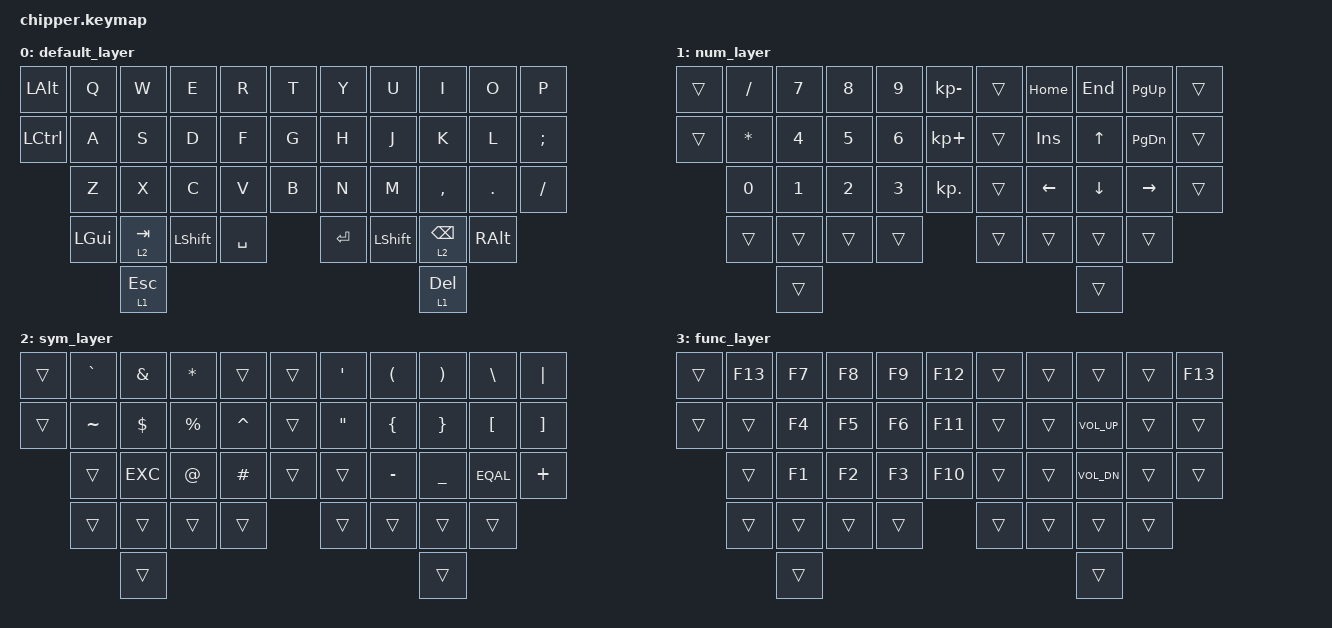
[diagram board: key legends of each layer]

#include <behaviors.dtsi>
#include <dt-bindings/zmk/keys.h>
#include <dt-bindings/zmk/bt.h>        // bluetooth
// #include <dt-bindings/zmk/pointing.h>  // mouse

// #define QWERTY 0  // mac os
// #define NUM 1  // number
// #define SYM 2  // symbol
// #define FUNC 3  // function

/ {
    conditional_layers {
        compatible = "zmk,conditional-layers";
        tri_layer {
            if-layers = <1 2>;
            then-layer = <3>;
        };
    };
};


/ {
    keymap {
        compatible = "zmk,keymap";

        default_layer { 
            bindings = <
                &kp LALT       &kp Q  &kp W  &kp E     &kp R    &kp T            &kp Y    &kp U    &kp I      &kp O    &kp P 
                &kp LCTRL      &kp A  &kp S  &kp D     &kp F    &kp G            &kp H    &kp J    &kp K      &kp L    &kp SEMI  
                               &kp Z  &kp X  &kp C     &kp V    &kp B            &kp N    &kp M    &kp COMMA  &kp DOT  &kp FSLH  
                               &kp LGUI  &lt 2 TAB &kp LSHFT &kp SPACE         &kp RET  &kp LSHFT &lt 2 BSPC  &kp RALT
                                        &lt 1 ESC                                                 &lt 1 DEL
            >;
        };

        num_layer {  // NUM 1
            bindings = <
                &trans        &kp FSLH  &kp N7    &kp N8    &kp N9    &kp KP_MINUS      &trans    &kp HOME    &kp END    &kp PG_UP    &trans
                &trans        &kp STAR  &kp N4    &kp N5    &kp N6    &kp KP_PLUS       &trans    &kp INS     &kp UP     &kp PG_DN    &trans
                              &kp N0    &kp N1    &kp N2    &kp N3    &kp KP_DOT        &trans    &kp LEFT    &kp DOWN   &kp RIGHT    &trans
                                           &trans &trans &trans &trans                         &trans &trans &trans &trans
                                                  &trans                                                     &trans
            >;
        };

        sym_layer {  // SYM 2
            bindings = <
                &trans        &kp GRAVE   &kp AMPS    &kp STAR    &trans    &trans      &kp SQT    &kp LPAR    &kp RPAR    &kp BSLH    &kp PIPE
                &trans        &kp TILDE   &kp DLLR    &kp PRCNT   &kp CARET &trans      &kp DQT    &kp LBRC    &kp RBRC    &kp LBKT    &kp RBKT
                              &trans      &kp EXC     &kp AT      &kp HASH  &trans      &trans     &kp MINUS   &kp UNDER   &kp EQAL    &kp PLUS
                                           &trans &trans &trans &trans                           &trans &trans &trans &trans
                                                  &trans                                                       &trans
            >;
        };

        func_layer {  // FUNC 3
            bindings = <
                &trans        &kp F13     &kp F7    &kp F8    &kp F9    &kp F12        &trans    &trans    &trans        &trans    &kp F13
                &trans        &trans      &kp F4    &kp F5    &kp F6    &kp F11        &trans    &trans    &kp C_VOL_UP  &trans    &trans
                              &trans      &kp F1    &kp F2    &kp F3    &kp F10        &trans    &trans    &kp C_VOL_DN  &trans    &trans
                                           &trans &trans &trans &trans                           &trans &trans &trans &trans
                                                  &trans                                                       &trans
            >;
        };

    };
};

